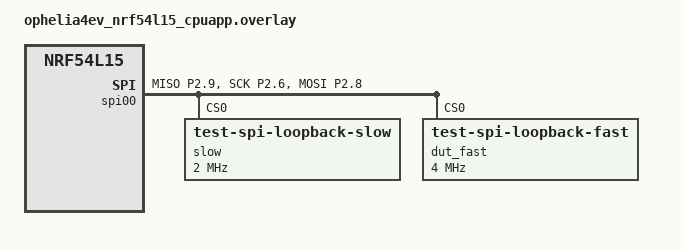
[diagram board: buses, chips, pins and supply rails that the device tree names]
/*
 * Copyright (c) 2025 Würth Elektronik eiSos GmbH & Co. KGs
 *
 * SPDX-License-Identifier: Apache-2.0
 */

&pinctrl {
	spi00_default: spi00_default {
		group1 {
			psels = <NRF_PSEL(SPIM_MISO, 2, 9)>;
		};

		group2 {
			psels = <NRF_PSEL(SPIM_SCK, 2, 6)>,
				<NRF_PSEL(SPIM_MOSI, 2, 8)>;
			nordic,drive-mode = <NRF_DRIVE_E0E1>;
		};
	};

	spi00_sleep: spi00_sleep {
		group1 {
			psels = <NRF_PSEL(SPIM_SCK, 2, 6)>,
				<NRF_PSEL(SPIM_MISO, 2, 9)>,
				<NRF_PSEL(SPIM_MOSI, 2, 8)>;
			low-power-enable;
		};
	};
};

/delete-node/ &mx25r64;

&spi00 {
	status = "okay";

	pinctrl-0 = <&spi00_default>;
	pinctrl-1 = <&spi00_sleep>;
	pinctrl-names = "default", "sleep";

	overrun-character = <0x00>;
	zephyr,pm-device-runtime-auto;

	slow@0 {
		compatible = "test-spi-loopback-slow";
		reg = <0>;
		spi-max-frequency = <DT_FREQ_M(2)>;
	};

	dut_fast: fast@0 {
		compatible = "test-spi-loopback-fast";
		reg = <0>;
		spi-max-frequency = <DT_FREQ_M(4)>;
	};
};

&gpio2 {
	status = "okay";
};
